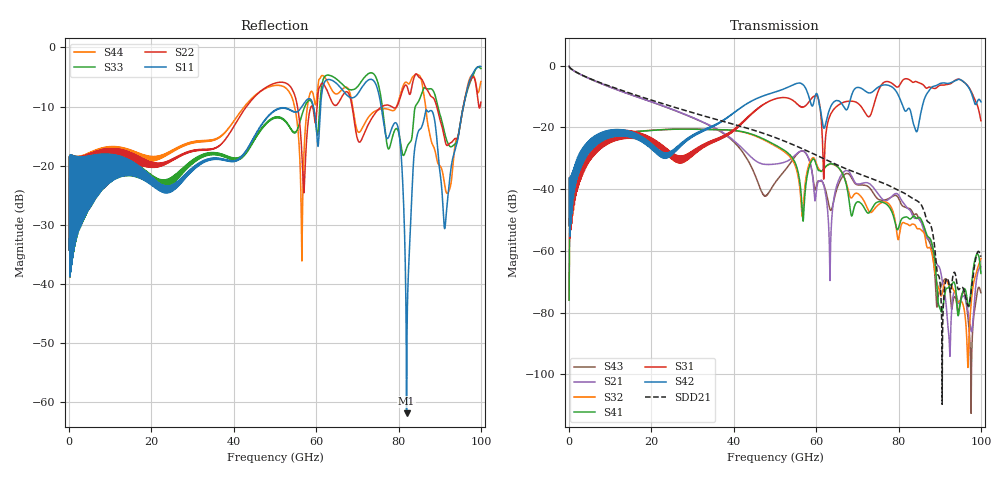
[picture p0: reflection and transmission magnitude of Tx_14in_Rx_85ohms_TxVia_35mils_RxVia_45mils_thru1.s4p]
! Info: Touchstone file created by Circ.  Input file=Tx_14in_Rx_85ohms_TxVia_35mils_RxVia_45mils.circ
# Hz S RI R 50
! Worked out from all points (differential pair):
!   10000 points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, 10 MHz to 100 GHz, reference 50 ohm
!   strongest paths, dB at 10 MHz, 25.01 GHz, 50.01 GHz, 75.01 GHz, 100 GHz:
!     S42: -51.8, -28.5, -8.5, -7.0, -11.7
!     S31: -51.8, -29.0, -10.8, -8.4, -17.8
!     S41: -75.9, -20.6, -25.6, -44.1, -67.3
!     S32: -75.9, -20.6, -26.0, -45.1, -62.5
!     S21: -0.1, -14.1, -31.9, -41.4, -65.1
!     S43: -0.1, -14.2, -37.9, -43.2, -73.5
!   taken as a pair (ports 1,3 in; 2,4 out), SDD21 dB: -0.1, -13.2, -23.2, -37.3, -61.9
!   lowest |S11| = -61.8 dB at 81.95 GHz (marker M1), VSWR 1.00, Z = 50.1 - j0.0187 ohm
!   |S11| at or under -10 dB: start of sweep to 56.55 GHz; 59.32 GHz to 61.07 GHz (1.749 GHz wide, 2.91 % of centre); 75.78 GHz to 95.76 GHz (19.98 GHz wide, 23.3 % of centre)
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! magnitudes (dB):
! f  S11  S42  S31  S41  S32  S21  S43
! 10 MHz  -34.2  -51.8  -51.8  -75.9  -75.9  -0.1  -0.1
! 2.4 GHz  -18.5  -34.7  -38.1  -29.5  -29.5  -2.6  -2.6
! 14.23 GHz  -20.2  -22.1  -22.4  -21.5  -21.5  -9.0  -9.0
! 73.58 GHz  -5.4  -8.5  -14.7  -46.2  -47.3  -39.0  -40.6
! 81.95 GHz  -61.8  -14.6  -4.2  -49.0  -51.2  -45.8  -46.0
! 92.17 GHz  -24.0  -5.7  -6.0  -71.8  -71.1  -86.4  -70.1
! 100 GHz  -3.2  -11.7  -17.8  -67.3  -62.5  -65.1  -73.5
